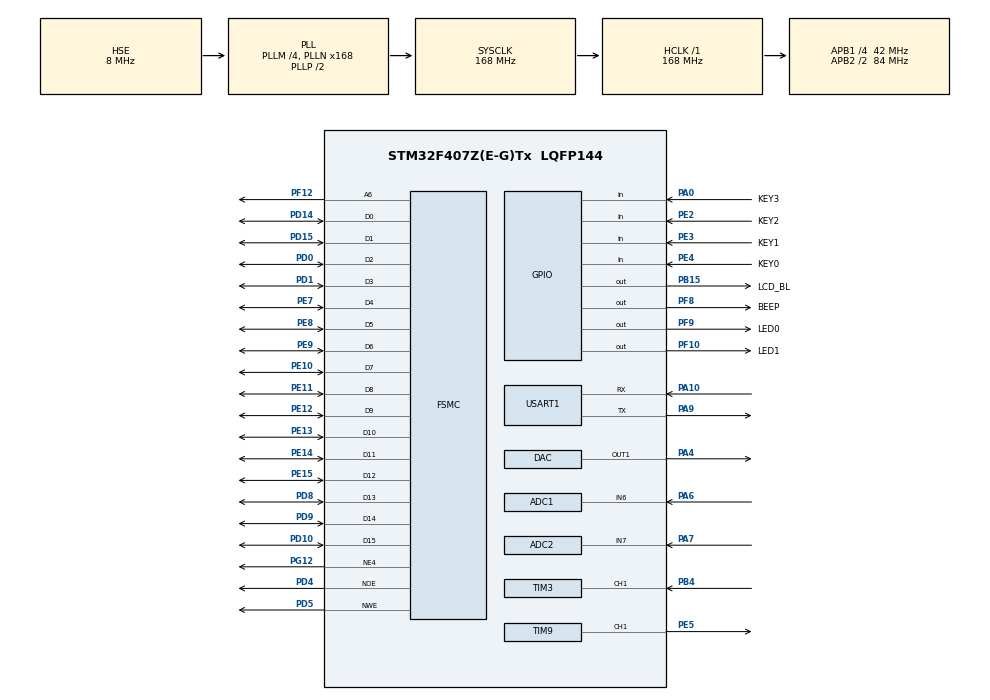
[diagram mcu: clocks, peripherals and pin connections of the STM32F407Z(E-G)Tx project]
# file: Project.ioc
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ADC1.Channel-0\#ChannelRegularConversion=ADC_CHANNEL_6
ADC1.ExternalTrigConv=ADC_EXTERNALTRIGCONV_T2_TRGO
ADC1.NbrOfConversionFlag=1
ADC1.Rank-0\#ChannelRegularConversion=1
ADC1.SamplingTime-0\#ChannelRegularConversion=ADC_SAMPLETIME_3CYCLES
ADC1.master=1
ADC2.Channel-0\#ChannelRegularConversion=ADC_CHANNEL_7
ADC2.ExternalTrigConv=ADC_EXTERNALTRIGCONV_T2_TRGO
ADC2.NbrOfConversionFlag=1
ADC2.Rank-0\#ChannelRegularConversion=1
ADC2.SamplingTime-0\#ChannelRegularConversion=ADC_SAMPLETIME_3CYCLES
DAC.DAC_Trigger=DAC_TRIGGER_T6_TRGO
Dma.ADC1.0.Direction=DMA_PERIPH_TO_MEMORY
Dma.ADC1.0.FIFOMode=DMA_FIFOMODE_DISABLE
Dma.ADC1.0.Instance=DMA2_Stream0
Dma.ADC1.0.MemDataAlignment=DMA_MDATAALIGN_HALFWORD
Dma.ADC1.0.MemInc=DMA_MINC_ENABLE
Dma.ADC1.0.Mode=DMA_NORMAL
Dma.ADC1.0.PeriphDataAlignment=DMA_PDATAALIGN_HALFWORD
Dma.ADC1.0.PeriphInc=DMA_PINC_DISABLE
Dma.ADC1.0.Priority=DMA_PRIORITY_LOW
Dma.ADC2.1.Direction=DMA_PERIPH_TO_MEMORY
Dma.ADC2.1.FIFOMode=DMA_FIFOMODE_DISABLE
Dma.ADC2.1.Instance=DMA2_Stream2
Dma.ADC2.1.MemDataAlignment=DMA_MDATAALIGN_HALFWORD
Dma.ADC2.1.MemInc=DMA_MINC_ENABLE
Dma.ADC2.1.Mode=DMA_NORMAL
Dma.ADC2.1.PeriphDataAlignment=DMA_PDATAALIGN_HALFWORD
Dma.ADC2.1.PeriphInc=DMA_PINC_DISABLE
Dma.ADC2.1.Priority=DMA_PRIORITY_LOW
Dma.DAC1.2.Direction=DMA_MEMORY_TO_PERIPH
Dma.DAC1.2.FIFOMode=DMA_FIFOMODE_DISABLE
Dma.DAC1.2.Instance=DMA1_Stream5
Dma.DAC1.2.MemDataAlignment=DMA_MDATAALIGN_HALFWORD
Dma.DAC1.2.MemInc=DMA_MINC_ENABLE
Dma.DAC1.2.Mode=DMA_CIRCULAR
Dma.DAC1.2.PeriphDataAlignment=DMA_PDATAALIGN_HALFWORD
Dma.DAC1.2.PeriphInc=DMA_PINC_DISABLE
Dma.DAC1.2.Priority=DMA_PRIORITY_LOW
Dma.Request0=ADC1
Dma.Request1=ADC2
Dma.Request2=DAC1
Dma.Request3=USART1_TX
Dma.Request4=USART1_RX
Dma.USART1_RX.4.Direction=DMA_PERIPH_TO_MEMORY
Dma.USART1_RX.4.FIFOMode=DMA_FIFOMODE_DISABLE
Dma.USART1_RX.4.Instance=DMA2_Stream5
Dma.USART1_RX.4.MemDataAlignment=DMA_MDATAALIGN_BYTE
Dma.USART1_RX.4.MemInc=DMA_MINC_ENABLE
Dma.USART1_RX.4.Mode=DMA_NORMAL
Dma.USART1_RX.4.PeriphDataAlignment=DMA_PDATAALIGN_BYTE
Dma.USART1_RX.4.PeriphInc=DMA_PINC_DISABLE
Dma.USART1_RX.4.Priority=DMA_PRIORITY_LOW
Dma.USART1_TX.3.Direction=DMA_MEMORY_TO_PERIPH
Dma.USART1_TX.3.FIFOMode=DMA_FIFOMODE_DISABLE
Dma.USART1_TX.3.Instance=DMA2_Stream7
Dma.USART1_TX.3.MemDataAlignment=DMA_MDATAALIGN_BYTE
Dma.USART1_TX.3.MemInc=DMA_MINC_ENABLE
Dma.USART1_TX.3.Mode=DMA_NORMAL
Dma.USART1_TX.3.PeriphDataAlignment=DMA_PDATAALIGN_BYTE
Dma.USART1_TX.3.PeriphInc=DMA_PINC_DISABLE
Dma.USART1_TX.3.Priority=DMA_PRIORITY_LOW
FSMC.ExtendedAddressSetupTime1=2
FSMC.ExtendedDataSetupTime1=2
FSMC.ExtendedMode1=FSMC_EXTENDED_MODE_ENABLE
Mcu.Family=STM32F4
Mcu.Name=STM32F407Z(E-G)Tx
Mcu.Package=LQFP144
NVIC.DMA1_Stream5_IRQn=true\:0\:0\:false\:false\:true\:false\:true\:true
NVIC.DMA2_Stream0_IRQn=true\:0\:0\:false\:false\:true\:false\:true\:true
NVIC.DMA2_Stream2_IRQn=true\:0\:0\:false\:false\:true\:false\:true\:true
NVIC.DMA2_Stream5_IRQn=true\:0\:0\:false\:false\:true\:false\:true\:true
NVIC.DMA2_Stream7_IRQn=true\:0\:0\:false\:false\:true\:false\:true\:true
NVIC.PriorityGroup=NVIC_PRIORITYGROUP_4
NVIC.TIM1_TRG_COM_TIM11_IRQn=true\:1\:0\:true\:false\:true\:true\:true\:true
NVIC.USART1_IRQn=true\:0\:0\:false\:false\:true\:false\:true\:true
PA0-WKUP.GPIO_Label=KEY3
PA0-WKUP.GPIO_PuPd=GPIO_PULLDOWN
PA0-WKUP.Signal=GPIO_Input
PA10.Mode=Asynchronous
PA10.Signal=USART1_RX
PA13.Mode=Serial_Wire
PA13.Signal=SYS_JTMS-SWDIO
PA14.Mode=Serial_Wire
PA14.Signal=SYS_JTCK-SWCLK
PA4.Signal=COMP_DAC1_group
PA6.Signal=ADCx_IN6
PA7.Signal=ADCx_IN7
PA9.Mode=Asynchronous
PA9.Signal=USART1_TX
PB15.GPIO_Label=LCD_BL
PB15.Signal=GPIO_Output
PB4.Signal=S_TIM3_CH1
PD0.Signal=FSMC_D2_DA2
PD1.Signal=FSMC_D3_DA3
PD10.Signal=FSMC_D15_DA15
PD14.Signal=FSMC_D0_DA0
PD15.Signal=FSMC_D1_DA1
PD4.Signal=FSMC_NOE
PD5.Signal=FSMC_NWE
PD8.Signal=FSMC_D13_DA13
PD9.Signal=FSMC_D14_DA14
PE10.Signal=FSMC_D7_DA7
PE11.Signal=FSMC_D8_DA8
PE12.Signal=FSMC_D9_DA9
PE13.Signal=FSMC_D10_DA10
PE14.Signal=FSMC_D11_DA11
PE15.Signal=FSMC_D12_DA12
PE2.GPIO_Label=KEY2
PE2.GPIO_PuPd=GPIO_PULLUP
PE2.Signal=GPIO_Input
PE3.GPIO_Label=KEY1
PE3.GPIO_PuPd=GPIO_PULLUP
PE3.Signal=GPIO_Input
PE4.GPIO_Label=KEY0
PE4.GPIO_PuPd=GPIO_PULLUP
PE4.Signal=GPIO_Input
PE5.Signal=S_TIM9_CH1
PE7.Signal=FSMC_D4_DA4
PE8.Signal=FSMC_D5_DA5
PE9.Signal=FSMC_D6_DA6
PF10.GPIO_Label=LED1
PF10.PinState=GPIO_PIN_SET
PF10.Signal=GPIO_Output
PF12.Signal=FSMC_A6
PF8.GPIO_Label=BEEP
PF8.Signal=GPIO_Output
PF9.GPIO_Label=LED0
PF9.PinState=GPIO_PIN_SET
PF9.Signal=GPIO_Output
PG12.Mode=NorPsramChipSelect4_1
PG12.Signal=FSMC_NE4
PH0-OSC_IN.Mode=HSE-External-Oscillator
PH0-OSC_IN.Signal=RCC_OSC_IN
PH1-OSC_OUT.Mode=HSE-External-Oscillator
PH1-OSC_OUT.Signal=RCC_OSC_OUT
ProjectManager.HeapSize=0x200
ProjectManager.StackSize=0x1000
ProjectManager.TargetToolchain=MDK-ARM V5.32
RCC.48MHZClocksFreq_Value=84000000
RCC.AHBFreq_Value=168000000
RCC.APB1CLKDivider=RCC_HCLK_DIV4
RCC.APB1Freq_Value=42000000
RCC.APB1TimFreq_Value=84000000
RCC.APB2CLKDivider=RCC_HCLK_DIV2
RCC.APB2Freq_Value=84000000
RCC.APB2TimFreq_Value=168000000
RCC.CortexFreq_Value=168000000
RCC.HCLKFreq_Value=168000000
RCC.HSE_VALUE=8000000
RCC.HSI_VALUE=16000000
RCC.LSE_VALUE=32768
RCC.PLLM=4
RCC.PLLN=168
RCC.PLLSourceVirtual=RCC_PLLSOURCE_HSE
RCC.SYSCLKFreq_VALUE=168000000
RCC.SYSCLKSource=RCC_SYSCLKSOURCE_PLLCLK
RCC.VCOOutputFreq_Value=336000000
SH.ADCx_IN6.0=ADC1_IN6,IN6
SH.ADCx_IN7.0=ADC2_IN7,IN7
SH.COMP_DAC1_group.0=DAC_OUT1,DAC_OUT1
SH.FSMC_A6.0=FSMC_A6,A6_1
SH.FSMC_D0_DA0.0=FSMC_D0,16b-d1
SH.FSMC_D10_DA10.0=FSMC_D10,16b-d1
SH.FSMC_D11_DA11.0=FSMC_D11,16b-d1
SH.FSMC_D12_DA12.0=FSMC_D12,16b-d1
SH.FSMC_D13_DA13.0=FSMC_D13,16b-d1
SH.FSMC_D14_DA14.0=FSMC_D14,16b-d1
SH.FSMC_D15_DA15.0=FSMC_D15,16b-d1
SH.FSMC_D1_DA1.0=FSMC_D1,16b-d1
SH.FSMC_D2_DA2.0=FSMC_D2,16b-d1
SH.FSMC_D3_DA3.0=FSMC_D3,16b-d1
SH.FSMC_D4_DA4.0=FSMC_D4,16b-d1
SH.FSMC_D5_DA5.0=FSMC_D5,16b-d1
SH.FSMC_D6_DA6.0=FSMC_D6,16b-d1
SH.FSMC_D7_DA7.0=FSMC_D7,16b-d1
SH.FSMC_D8_DA8.0=FSMC_D8,16b-d1
SH.FSMC_D9_DA9.0=FSMC_D9,16b-d1
SH.FSMC_NOE.0=FSMC_NOE,Lcd1
SH.FSMC_NWE.0=FSMC_NWE,Lcd1
SH.S_TIM3_CH1.0=TIM3_CH1,PWM_Input_1
SH.S_TIM9_CH1.0=TIM9_CH1,PWM Generation1 CH1
TIM11.Period=9999
TIM11.Prescaler=167
TIM2.Period=99
TIM2.Prescaler=83
TIM2.TIM_MasterOutputTrigger=TIM_TRGO_UPDATE
TIM3.Prescaler=83
TIM6.Period=999
TIM6.Prescaler=13
TIM6.TIM_MasterOutputTrigger=TIM_TRGO_UPDATE
TIM9.Channel-PWM\ Generation1\ CH1=TIM_CHANNEL_1
TIM9.Period=1999
TIM9.Prescaler=167
USART1.VirtualMode=VM_ASYNC
VP_TIM11_VS_ClockSourceINT.Mode=Enable_Timer
VP_TIM2_VS_ClockSourceINT.Mode=Internal
VP_TIM6_VS_ClockSourceINT.Mode=Enable_Timer
board=custom

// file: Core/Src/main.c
/* USER CODE BEGIN Header */
/**
  ******************************************************************************
  * @file           : main.c
  * @brief          : Main program body
  ******************************************************************************
  * @attention
  *
  * Copyright (c) 2024 STMicroelectronics.
  * All rights reserved.
  *
  * This software is licensed under terms that can be found in the LICENSE file
  * in the root directory of this software component.
  * If no LICENSE file comes with this software, it is provided AS-IS.
  *
  ******************************************************************************
  */
/* USER CODE END Header */
#include "main.h"
#include "adc.h"
#include "dac.h"
#include "dma.h"
#include "tim.h"
#include "usart.h"
#include "gpio.h"
#include "fsmc.h"

/* USER CODE BEGIN Includes */
#include "lcd.h"

/* USER CODE END Includes */

/* USER CODE BEGIN PD */
#define VREF			3300

/* USER CODE END PD */

/* USER CODE BEGIN PV */
uint8_t workState = 0;
uint16_t workCnt = 0;
myPWM_HandleTypeDef myPWM = { .htim = &htim9, .Channel = TIM_CHANNEL_1, .idx = 0 };
myPWMI_HandleTypeDef myPWMI = { .htim = &htim3, .Channel = TIM_CHANNEL_1 };
myADC_HandleTypeDef myADC = { .hadc_ch1 = &hadc2, .hadc_ch2 = &hadc1, .htim = &htim2 };
myDAC_HandleTypeDef myDAC = { .hdac = &hdac, .htim = &htim6, .Channel = DAC_CHANNEL_1, .idx = 0 };
myUART_HandleTypeDef myUART = { .huart = &huart1, .idx = 6 };

/* USER CODE END PV */

void SystemClock_Config(void);
/* USER CODE BEGIN PFP */
void Key_Process(uint8_t keyNum);
void ADC_Process(void);
void UART_LCD_Process(uint8_t type, const char *str);

/* USER CODE END PFP */

/* USER CODE BEGIN 0 */
void HAL_TIM_PeriodElapsedCallback(TIM_HandleTypeDef *htim)
{
	if (htim == &htim11)
	{
		Key_Process(Key_Read());
	}
}

void HAL_ADC_ConvCpltCallback(ADC_HandleTypeDef *hadc)
{
	static uint8_t tmp_adc_conv_cplt = 0;
	switch (++tmp_adc_conv_cplt)
	{
		case 1:
			MODIFY_REG(myADC.hadc_ch1->Instance->CR1, ADC_CR1_RES, ADC_RESOLUTION_12B);
			HAL_ADC_Start_DMA(myADC.hadc_ch1, (uint32_t *)myADC.Data2, 10);
			break;
		case 2:
			__HAL_TIM_SET_AUTORELOAD(myADC.htim, 999);
			HAL_ADC_Start_DMA(myADC.hadc_ch2, (uint32_t *)myADC.Data3, 20);
			break;
		case 3:
			__HAL_TIM_SET_AUTORELOAD(myADC.htim, 99);
			HAL_ADC_Start_DMA(myADC.hadc_ch2, (uint32_t *)myADC.Data4, 200);
			break;
		case 4:
			HAL_TIM_Base_Stop(myADC.htim);
			tmp_adc_conv_cplt = 0;
			ADC_Process();
			break;
	}
}

void HAL_UARTEx_RxEventCallback(UART_HandleTypeDef *huart, uint16_t Size)
{
	if (huart == myUART.huart && huart->RxEventType != HAL_UART_RXEVENT_HT)
	{
		UART_LCD_Process(2, myUART.RxMsg);
		if (strncmp(myUART.RxMsg, UART_TxHeader, strlen(UART_TxHeader)))
			myUART_Transmit_DMA(&myUART, "%s%s", UART_TxHeader, myUART.RxMsg);
		myUART_Start_Receive_DMA(&myUART);
	}
}

/* USER CODE END 0 */

int main(void)
{

  /* MCU Configuration--------------------------------------------------------*/

  /* Reset of all peripherals, Initializes the Flash interface and the Systick. */
  HAL_Init();

  /* Configure the system clock */
  SystemClock_Config();

  /* Initialize all configured peripherals */
  MX_GPIO_Init();
  MX_DMA_Init();
  MX_FSMC_Init();
  MX_TIM11_Init();
  MX_TIM9_Init();
  MX_TIM2_Init();
  MX_TIM3_Init();
  MX_TIM6_Init();
  MX_ADC1_Init();
  MX_ADC2_Init();
  MX_DAC_Init();
  MX_USART1_UART_Init();
  /* USER CODE BEGIN 2 */
  LCD_Init();
  LCD_ShowString(40, 80, 32, RED, WHITE, "Wait to confirm: workState = %d.", workState);
  LCD_ShowString(40, 120, 32, WHITE, ORANGE, " KEY0         KEY1           KEY2 ");
  LCD_ShowString(136, 120, 32, ORANGE, WHITE, " CHECK ");
  LCD_ShowString(344, 120, 32, ORANGE, WHITE, " STATE++ ");
  LCD_ShowString(584, 120, 32, ORANGE, WHITE, " STATE-- ");

  HAL_TIM_Base_Start_IT(&htim11);

  /* USER CODE END 2 */

  /* Infinite loop */
  while (1)
  {

  }
}

void SystemClock_Config(void)
{
  RCC_OscInitTypeDef RCC_OscInitStruct = {0};
  RCC_ClkInitTypeDef RCC_ClkInitStruct = {0};

  /** Configure the main internal regulator output voltage
  */
  __HAL_RCC_PWR_CLK_ENABLE();
  __HAL_PWR_VOLTAGESCALING_CONFIG(PWR_REGULATOR_VOLTAGE_SCALE1);

  /** Initializes the RCC Oscillators according to the specified parameters
  * in the RCC_OscInitTypeDef structure.
  */
  RCC_OscInitStruct.OscillatorType = RCC_OSCILLATORTYPE_HSE;
  RCC_OscInitStruct.HSEState = RCC_HSE_ON;
  RCC_OscInitStruct.PLL.PLLState = RCC_PLL_ON;
  RCC_OscInitStruct.PLL.PLLSource = RCC_PLLSOURCE_HSE;
  RCC_OscInitStruct.PLL.PLLM = 4;
  RCC_OscInitStruct.PLL.PLLN = 168;
  RCC_OscInitStruct.PLL.PLLP = RCC_PLLP_DIV2;
  RCC_OscInitStruct.PLL.PLLQ = 4;
  if (HAL_RCC_OscConfig(&RCC_OscInitStruct) != HAL_OK)
  {
    Error_Handler();
  }

  /** Initializes the CPU, AHB and APB buses clocks
  */
  RCC_ClkInitStruct.ClockType = RCC_CLOCKTYPE_HCLK|RCC_CLOCKTYPE_SYSCLK
                              |RCC_CLOCKTYPE_PCLK1|RCC_CLOCKTYPE_PCLK2;
  RCC_ClkInitStruct.SYSCLKSource = RCC_SYSCLKSOURCE_PLLCLK;
  RCC_ClkInitStruct.AHBCLKDivider = RCC_SYSCLK_DIV1;
  RCC_ClkInitStruct.APB1CLKDivider = RCC_HCLK_DIV4;
  RCC_ClkInitStruct.APB2CLKDivider = RCC_HCLK_DIV2;

  if (HAL_RCC_ClockConfig(&RCC_ClkInitStruct, FLASH_LATENCY_5) != HAL_OK)
  {
    Error_Handler();
  }
}

/* USER CODE BEGIN 4 */
void Key_Process(uint8_t keyNum)
{
	static uint8_t tmp_work_state = 0;
	static bool tmp_adc_auto = false;
	static bool tmp_uart_state = true;

	if (workState == 0)
	{
		if (keyNum == 0x01 && tmp_work_state < 6 || keyNum == 0x02 && tmp_work_state > 1)
		{
			if (keyNum == 0x01) tmp_work_state++;
			if (keyNum == 0x02) tmp_work_state--;
			LCD_ShowString(40, 80, 32, RED, WHITE, "Wait to confirm: workState = %d.", tmp_work_state);
		}
		if (keyNum == 0x00 && tmp_work_state)
		{
			LCD_ShowString(40, 80, 32, BLACK, WHITE, "Already confirm: workState = %d.", workState = tmp_work_state);
			if (workState < 4)
			{
				LCD_ShowString(40, 120, 32, WHITE, ORANGE, " KEY3 ");
				LCD_ShowString(136, 120, 32, ORANGE, WHITE, " QUIT                                 ");
			}
			else if (workState == 4)
			{
				myPWM_Start(&myPWM), myPWMI_Start(&myPWMI);
				LCD_ShowString(40, 120, 32, BLUE, WHITE, "PinDef: PWM(PE5), PWMI(PB4).               ");
				LCD_ShowString(40, 160, 32, BLACK, WHITE, "PWM:  setPulse = 0 us.   ");
				LCD_ShowString(40, 280, 32, WHITE, ORANGE, " KEY0       KEY3 ");
				LCD_ShowString(136, 280, 32, ORANGE, WHITE, " PWM ");
				LCD_ShowString(312, 280, 32, ORANGE, WHITE, " QUIT ");
			}
			else if (workState == 5)
			{
				myDAC_Start_DMA(&myDAC);
				LCD_ShowString(40, 120, 32, BLUE, WHITE, "PinDef: ADC-DC(PA7), ADC-AC(PA6), DAC(PA4).");
				LCD_ShowString(40, 160, 32, BLACK, WHITE, "DAC: setFreq = 50 Hz.");
				LCD_ShowString(40, 200, 32, BLACK, WHITE, "ADC Results:");
				LCD_ShowString(40, 240, 32, BLACK, WHITE, "DC (8b):     N/A mV  |  AC (1k):     N/A mV");
				LCD_ShowString(40, 280, 32, BLACK, WHITE, "DC (12b):    N/A mV  |  AC (10k):    N/A mV");
				LCD_ShowString(440, 160, 32, WHITE, ORANGE, " K3 ");
				LCD_ShowString(504, 160, 32, ORANGE, WHITE, " QUIT ");
				LCD_ShowString(248, 200, 32, WHITE, ORANGE, " K0          K1        K2 ");
				LCD_ShowString(312, 200, 32, ORANGE, WHITE, " SINGLE ");
				LCD_ShowString(504, 200, 32, ORANGE, WHITE, " AUTO ");
				LCD_ShowString(664, 200, 32, ORANGE, WHITE, " DAC ");
			}
			else if (workState == 6)
			{
				myUART_SetBaudRate(&myUART);
				myUART_Start_Receive_DMA(&myUART);
				LCD_ShowString(40, 160, 32, BLUE, WHITE, "BaudRate: 115200 Bps.                      ");
				LCD_ShowString(40, 120, 32, WHITE, ORANGE, " K0        K1         K2           K3 ");
				LCD_ShowString(104, 120, 32, ORANGE, WHITE, " Baud ");
				LCD_ShowString(264, 120, 32, ORANGE, WHITE, " Tx2/4 ");
				LCD_ShowString(440, 120, 32, ORANGE, WHITE, " CLR/RST ");
				LCD_ShowString(648, 120, 32, ORANGE, WHITE, " QUIT ");
			}
		}
	}
	else if (keyNum == 0x03)
	{
		LED0_Off, LED1_Off, BEEP_Off;
		if (workState == 4) myPWM_Stop(&myPWM), myPWMI_Stop(&myPWMI), myPWM.idx = 0;
		else if (workState == 5) myDAC_Stop_DMA(&myDAC), myDAC.idx = 0, tmp_adc_auto = false;
		else if (workState == 6) myUART.idx = 6, tmp_uart_state = true;
		LCD_ShowString(40, 80, 32, RED, WHITE, "Wait to confirm: workState = %d.", workState);
		LCD_ShowString(40, 120, 32, WHITE, ORANGE, " KEY0         KEY1           KEY2 ");
		LCD_ShowString(136, 120, 32, ORANGE, WHITE, " CHECK ");
		LCD_ShowString(344, 120, 32, ORANGE, WHITE, " STATE++ ");
		LCD_ShowString(584, 120, 32, ORANGE, WHITE, " STATE-- ");
		LCD_ClearArea(40, 160, 720, 200, WHITE);
		tmp_work_state = workState, workState = 0, workCnt = 0;
	}
	else if (workState == 1)
	{
		if (workCnt && ++workCnt > 200) workCnt = 0, BEEP_Off;
		if (workCnt == 0 && KEY0_Trigger) workCnt = 1, BEEP_On;
	}
	else if (workState == 2)
	{
		if (++workCnt == 600) workCnt = 0;
		LED0_Set(workCnt / 100 % 2);
		LED1_Set(workCnt / 15 % 2);
	}
	else if (workState == 3)
	{
		if (KEY0_Trigger) BEEP_On, LED1_Set(++workCnt / 25 % 2);
		else workCnt = 0, LED1_Off, BEEP_Off;
	}
	else if (workState == 4)
	{
		if (++workCnt == 10)
		{
			workCnt = 0, LED0_Toggle;
			LCD_ShowString(40, 200, 32, BLACK, WHITE, "PWMI: getPulse = %d us.         ", myPWMI_GetPulse(&myPWMI) + 1);
			LCD_ShowString(40, 240, 32, BLACK, WHITE, "PWMI: getPeriod = %d us.         ", myPWMI_GetPeriod(&myPWMI) + 1);
		}
		if (keyNum == 0x00)
		{
			switch (myPWM.idx = (myPWM.idx + 1) % 3)
			{
				case 0: LCD_ShowString(40, 160, 32, BLACK, WHITE, "PWM:  setPulse = 15 us.  "); break;
				case 1: LCD_ShowString(40, 160, 32, BLACK, WHITE, "PWM:  setPulse = 500 us. "); break;
				case 2: LCD_ShowString(40, 160, 32, BLACK, WHITE, "PWM:  setPulse = 1500 us."); break;
			}
			myPWM_SetPulse(&myPWM);
		}
	}
	else if (workState == 5)
	{
		if (++workCnt == 10) workCnt = 0, LED0_Toggle;
		if (keyNum == 0x00) tmp_adc_auto = false;
		if (keyNum == 0x00 || (workCnt == 0 && tmp_adc_auto))
		{
			MODIFY_REG(myADC.hadc_ch1->Instance->CR1, ADC_CR1_RES, ADC_RESOLUTION_8B);
			HAL_ADC_Start_DMA(myADC.hadc_ch1, (uint32_t *)myADC.Data1, 10);
			HAL_TIM_Base_Start(myADC.htim);
		}
		else if (keyNum == 0x01) tmp_adc_auto = !tmp_adc_auto;
		else if (keyNum == 0x02)
		{
			switch (myDAC.idx = (myDAC.idx + 1) % 7)
			{
				case 0: LCD_ShowString(40, 160, 32, BLACK, WHITE, "DAC: setFreq = 50 Hz. "); break;
				case 1: LCD_ShowString(40, 160, 32, BLACK, WHITE, "DAC: setFreq = 100 Hz."); break;
				case 2: LCD_ShowString(40, 160, 32, BLACK, WHITE, "DAC: setFreq = 500 Hz."); break;
				case 3: LCD_ShowString(40, 160, 32, BLACK, WHITE, "DAC: setFreq = 1 kHz. "); break;
				case 4: LCD_ShowString(40, 160, 32, BLACK, WHITE, "DAC: setFreq = 5 kHz. "); break;
				case 5: LCD_ShowString(40, 160, 32, BLACK, WHITE, "DAC: setFreq = 10 kHz."); break;
				case 6: LCD_ShowString(40, 160, 32, BLACK, WHITE, "DAC: setFreq = 50 kHz."); break;
			}
			myDAC_SetFreq(&myDAC);
		}
	}
	else if (workState == 6)
	{
		if (myUART.huart->RxState != HAL_UART_STATE_BUSY_RX)
		{
			LED0_On, LED1_On;
			if (tmp_uart_state) tmp_uart_state = false, UART_LCD_Process(3, NULL);
			if (keyNum == 0x82) tmp_uart_state = true, UART_LCD_Process(0, NULL), myUART_Start_Receive_DMA(&myUART);
		}
		else
		{
			if (++workCnt == 10)
			{
				workCnt = 0;
				if (myUART.huart->gState != HAL_UART_STATE_BUSY_TX) LED1_Off;
				else LED1_Toggle;
				if (__HAL_DMA_GET_COUNTER(myUART.huart->hdmarx) == UART_BufSize - 1) LED0_Off;
				else LED0_Toggle;
			}
			if (keyNum == 0x00)
			{
				switch (myUART.idx = (myUART.idx + 1) % 12)
				{
					case 0:  LCD_ShowString(40, 160, 32, BLUE, WHITE, "BaudRate: 2400 Bps.   "); break;
					case 1:  LCD_ShowString(40, 160, 32, BLUE, WHITE, "BaudRate: 4800 Bps.   "); break;
					case 2:  LCD_ShowString(40, 160, 32, BLUE, WHITE, "BaudRate: 9600 Bps.   "); break;
					case 3:  LCD_ShowString(40, 160, 32, BLUE, WHITE, "BaudRate: 19200 Bps.  "); break;
					case 4:  LCD_ShowString(40, 160, 32, BLUE, WHITE, "BaudRate: 38400 Bps.  "); break;
					case 5:  LCD_ShowString(40, 160, 32, BLUE, WHITE, "BaudRate: 57600 Bps.  "); break;
					case 6:  LCD_ShowString(40, 160, 32, BLUE, WHITE, "BaudRate: 115200 Bps. "); break;
					case 7:  LCD_ShowString(40, 160, 32, BLUE, WHITE, "BaudRate: 230400 Bps. "); break;
					case 8:  LCD_ShowString(40, 160, 32, BLUE, WHITE, "BaudRate: 460800 Bps. "); break;
					case 9:  LCD_ShowString(40, 160, 32, BLUE, WHITE, "BaudRate: 576000 Bps. "); break;
					case 10: LCD_ShowString(40, 160, 32, BLUE, WHITE, "BaudRate: 921600 Bps. "); break;
					case 11: LCD_ShowString(40, 160, 32, BLUE, WHITE, "BaudRate: 1152000 Bps."); break;
				}
				myUART_SetBaudRate(&myUART);
			}
			else if (keyNum == 0x80)
			{
				myUART.idx = 6;
				LCD_ShowString(40, 160, 32, BLUE, WHITE, "BaudRate: 115200 Bps. ");
				myUART_SetBaudRate(&myUART);
			}
			else if (keyNum == 0x01) UART_LCD_Process(1, UART_Tx1E2);
			else if (keyNum == 0x81) UART_LCD_Process(1, UART_Tx1E4);
			else if (keyNum == 0x02) UART_LCD_Process(0, NULL);
		}
	}
}

void ADC_Process(void)
{
	uint16_t tmp_adc_data_1 = 0;
	uint16_t tmp_adc_data_2 = 0;
	uint16_t tmp_adc_data_min_1 = 0xFFF;
	uint16_t tmp_adc_data_max_1 = 0x000;
	uint16_t tmp_adc_data_min_2 = 0xFFF;
	uint16_t tmp_adc_data_max_2 = 0x000;

	for (uint16_t i = 0; i < 10; ++i)
	{
		tmp_adc_data_1 += myADC.Data1[i];
		tmp_adc_data_2 += myADC.Data2[i];
	}
	for (uint16_t i = 0; i < 20; ++i)
	{
		if (tmp_adc_data_min_1 > myADC.Data3[i]) tmp_adc_data_min_1 = myADC.Data3[i];
		if (tmp_adc_data_max_1 < myADC.Data3[i]) tmp_adc_data_max_1 = myADC.Data3[i];
	}
	for (uint16_t i = 0; i < 200; ++i)
	{
		if (tmp_adc_data_min_2 > myADC.Data4[i]) tmp_adc_data_min_2 = myADC.Data4[i];
		if (tmp_adc_data_max_2 < myADC.Data4[i]) tmp_adc_data_max_2 = myADC.Data4[i];
	}

	LCD_ShowString(40, 240, 32, BLACK, WHITE, "DC (8b):  %6.1f mV  |  AC (1k):  %6.1f mV",
		(float)tmp_adc_data_1 * VREF / (10 * 0xFF),
		(float)(tmp_adc_data_max_1 - tmp_adc_data_min_1) * VREF / 0xFFF
	);
	LCD_ShowString(40, 280, 32, BLACK, WHITE, "DC (12b): %6.1f mV  |  AC (10k): %6.1f mV",
		(float)tmp_adc_data_2 * VREF / (10 * 0xFFF),
		(float)(tmp_adc_data_max_2 - tmp_adc_data_min_2) * VREF / 0xFFF
	);
}

/**
  * @param  type  This parameter can be a value of @ref UART_LCD_Process_Type :
  *                 UART_LCD_Process_Clear    = 0x00U,
  *                 UART_LCD_Process_Tx       = 0x01U,
  *                 UART_LCD_Process_Rx       = 0x02U,
  *                 UART_LCD_Process_Warning  = 0x03U
  */
void UART_LCD_Process(uint8_t type, const char *str)
{
	/* Clear area of LCD for all UART_LCD_Process_Type. */
	LCD_ClearArea(424, 160, 192, 40, WHITE);
	LCD_ClearArea(40, 200, 704, 160, WHITE);

	if (type == 1 || type == 2)
	{
		uint16_t color = (type == 1) ? GREEN : RED;
		uint16_t strLen = strlen(str);
		LCD_ShowString(424, 160, 32, color, WHITE, "%sLen: %d    ", (type == 1) ? "Tx" : "Rx", strLen);
		LCD_ClearArea(40, 200, 704, 160, WHITE);
		LCD_ShowString(40, 200, 32, color, WHITE, "%s: %s", (type == 1) ? "Tx" : "Rx", str);
		if (strLen > 40)  LCD_ShowString(104, 240, 32, color, WHITE, "%s", str + 40);
		if (strLen > 80)  LCD_ShowString(104, 280, 32, color, WHITE, "%s", str + 80);
		if (strLen > 120) LCD_ShowString(104, 320, 32, color, WHITE, "%s", str + 120);
		if (strLen > 160) LCD_ShowString(696, 320, 32, color, WHITE, "...");
		LCD_ClearArea(744, 200, 48, 160, WHITE);
		if (type == 1) myUART_Transmit_DMA(&myUART, "%s", str);
	}

	if (type == 3)
	{
		LCD_ShowString(152, 220, 32, WHITE, RED, " Warning: Baud rate mismatch. ");
		LCD_ShowString(152, 260, 32, WHITE, RED, " Press and hold KEY2 to reset. ");
	}
}

/* USER CODE END 4 */

void Error_Handler(void)
{
  __disable_irq();
  while (1)
  {
  }
}
